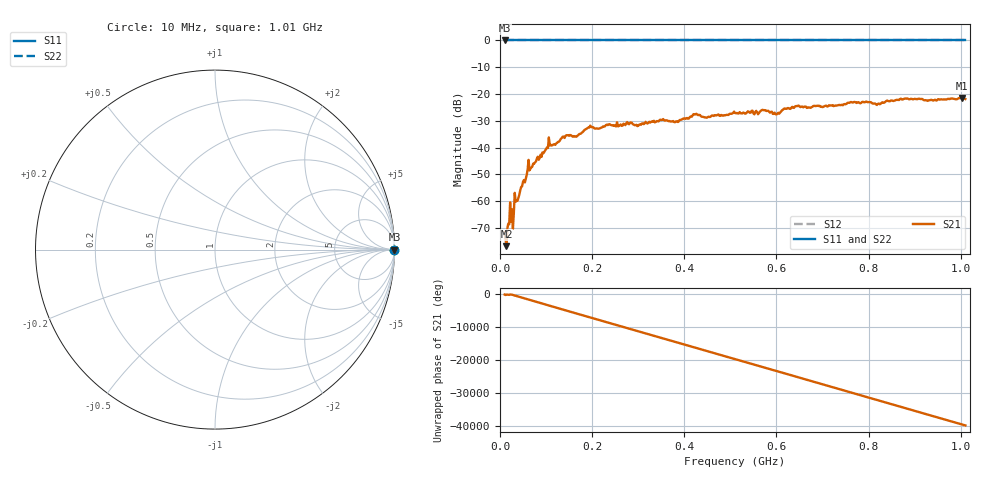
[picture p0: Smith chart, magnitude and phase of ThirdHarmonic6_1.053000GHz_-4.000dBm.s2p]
! 8/16/2025 9:19:38 AM
! C:\ANRITSUVNA\TEMP\TEMP.S2P
! CHANNEL.1
! TR.MEASUREMENT
! RAW.DATA
! RF.CORRECTION.OFF
! AVERAGING.OFF
! IF.BANDWIDTH: 5KHZ
! SWEEPTYPE:  FREQ.SWEEP(Linear)
! Reference Plane Port Info
! PORT:  PORT1  PORT2
! DISTANCE:  0  m  0  m
! TIME:  0  s  0  s
! PHASE.OFFSET:  0  deg.  0  deg.
! LOSS:  0  dB  0  dB
! REF.LOSS:  0  dB  0  dB
! REF.FREQ:  0  Hz  0  Hz
! Power Info
! POWER:  -20  dBm  -20  dBm
! EFF.POWER:  -20  dBm  -20  dBm
! SOURCE.ATTEN:  0  dB  0  dB
! TEST.ATTEN:  0  dB  0  dB
# GHZ S RI R 50.0
! FREQ.GHZ  S11RE  S11IM  S21RE  S21IM  S12RE  S12IM  S22RE  S22IM
!; PortSelection: Port_12
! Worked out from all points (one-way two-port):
!   501 points, 10 MHz to 1.01 GHz, reference 50 ohm
!   highest |S21| = -21.46 dB at 1.002 GHz (marker M1); lowest = -76.8 dB at 14 MHz (marker M2)
!   lowest |S11| = 0.0 dB at 10 MHz (marker M3)
!   |S11| at or under -10 dB: nowhere
!   |S22| runs from 0.0 to 0.0 dB; largest |S21 - S12| = 1.1
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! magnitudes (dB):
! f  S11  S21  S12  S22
! 10 MHz  0.0  -71.7  0.0  0.0
! 14 MHz  0.0  -76.8  0.0  0.0
! 16 MHz  0.0  -70.1  0.0  0.0
! 22 MHz  0.0  -60.5  0.0  0.0
! 28 MHz  0.0  -70.3  0.0  0.0
! 36 MHz  0.0  -59.8  0.0  0.0
! 64 MHz  0.0  -48.5  0.0  0.0
! 106 MHz  0.0  -36.2  0.0  0.0
! 178 MHz  0.0  -34.4  0.0  0.0
! 196 MHz  0.0  -31.8  0.0  0.0
! 344 MHz  0.0  -30.3  0.0  0.0
! 382 MHz  0.0  -30.2  0.0  0.0
! 424 MHz  0.0  -27.6  0.0  0.0
! 446 MHz  0.0  -28.7  0.0  0.0
! 510 MHz  0.0  -27.1  0.0  0.0
! 572 MHz  0.0  -26.0  0.0  0.0
! 602 MHz  0.0  -27.3  0.0  0.0
! 644 MHz  0.0  -24.5  0.0  0.0
! 678 MHz  0.0  -24.8  0.0  0.0
! 844 MHz  0.0  -22.7  0.0  0.0
! 1.002 GHz  0.0  -21.5  0.0  0.0
! 1.01 GHz  0.0  -21.9  0.0  0.0
